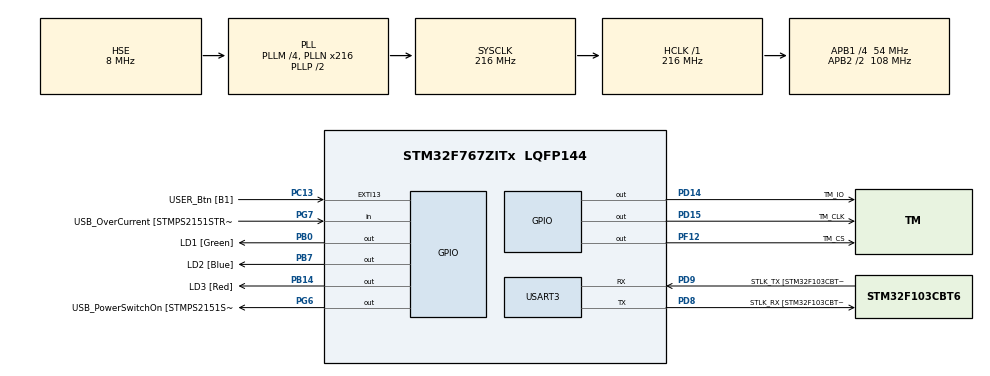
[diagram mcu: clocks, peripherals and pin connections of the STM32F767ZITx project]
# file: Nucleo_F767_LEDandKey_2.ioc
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Mcu.Family=STM32F7
Mcu.Name=STM32F767ZITx
Mcu.Package=LQFP144
NVIC.PriorityGroup=NVIC_PRIORITYGROUP_4
PA13.GPIO_Label=TMS
PA13.Mode=Serial_Wire
PA13.Signal=SYS_JTMS-SWDIO
PA14.GPIO_Label=TCK
PA14.Mode=Serial_Wire
PA14.Signal=SYS_JTCK-SWCLK
PB0.GPIO_Label=LD1 [Green]
PB0.Signal=GPIO_Output
PB14.GPIO_Label=LD3 [Red]
PB14.Signal=GPIO_Output
PB3.GPIO_Label=SWO
PB3.Signal=SYS_JTDO-SWO
PB7.GPIO_Label=LD2 [Blue]
PB7.Signal=GPIO_Output
PC13.GPIO_Label=USER_Btn [B1]
PC13.Signal=GPXTI13
PC14/OSC32_IN.Mode=LSE-External-Oscillator
PC14/OSC32_IN.Signal=RCC_OSC32_IN
PC15/OSC32_OUT.Mode=LSE-External-Oscillator
PC15/OSC32_OUT.Signal=RCC_OSC32_OUT
PD14.GPIO_Label=TM_IO
PD14.Signal=GPIO_Output
PD15.GPIO_Label=TM_CLK
PD15.Signal=GPIO_Output
PD8.GPIO_Label=STLK_RX [STM32F103CBT6_PA3]
PD8.Mode=Asynchronous
PD8.Signal=USART3_TX
PD9.GPIO_Label=STLK_TX [STM32F103CBT6_PA2]
PD9.Mode=Asynchronous
PD9.Signal=USART3_RX
PF12.GPIO_Label=TM_CS
PF12.Signal=GPIO_Output
PG6.GPIO_Label=USB_PowerSwitchOn [STMPS2151STR_EN]
PG6.Signal=GPIO_Output
PG7.GPIO_Label=USB_OverCurrent [STMPS2151STR_FAULT]
PG7.Signal=GPIO_Input
PH0/OSC_IN.GPIO_Label=MCO [STM32F103CBT6_PA8]
PH0/OSC_IN.Mode=HSE-External-Clock-Source
PH0/OSC_IN.Signal=RCC_OSC_IN
PH1/OSC_OUT.Mode=HSE-External-Clock-Source
PH1/OSC_OUT.Signal=RCC_OSC_OUT
ProjectManager.HeapSize=0x200
ProjectManager.StackSize=0x400
ProjectManager.TargetToolchain=STM32CubeIDE
RCC.48MHZClocksFreq_Value=24000000
RCC.AHBFreq_Value=216000000
RCC.APB1CLKDivider=RCC_HCLK_DIV4
RCC.APB1Freq_Value=54000000
RCC.APB1TimFreq_Value=108000000
RCC.APB2CLKDivider=RCC_HCLK_DIV2
RCC.APB2Freq_Value=108000000
RCC.APB2TimFreq_Value=216000000
RCC.CortexFreq_Value=216000000
RCC.HCLKFreq_Value=216000000
RCC.HSE_VALUE=8000000
RCC.HSI_VALUE=16000000
RCC.PLLM=4
RCC.PLLMUL=RCC_PLL_MUL9
RCC.PLLN=216
RCC.PLLQ=4
RCC.PLLSourceVirtual=RCC_PLLSOURCE_HSE
RCC.PRESCALERUSB=RCC_USBCLKSOURCE_PLL_DIV1_5
RCC.SYSCLKFreq_VALUE=216000000
RCC.SYSCLKSource=RCC_SYSCLKSOURCE_PLLCLK
RCC.SYSCLKSourceVirtual=RCC_SYSCLKSOURCE_PLLCLK
RCC.USBFreq_Value=108000000
RCC.VCOOutputFreq_Value=432000000
USART3.VirtualMode-Asynchronous=VM_ASYNC
board=NUCLEO-F767ZI

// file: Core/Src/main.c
/* USER CODE BEGIN Header */
/**
  ******************************************************************************
  * @file           : main.c
  * @brief          : Main program body
  ******************************************************************************
  * @attention
  *
  * <h2><center>&copy; Copyright (c) 2020 STMicroelectronics.
  * All rights reserved.</center></h2>
  *
  * This software component is licensed by ST under BSD 3-Clause license,
  * the "License"; You may not use this file except in compliance with the
  * License. You may obtain a copy of the License at:
  *                        opensource.org/licenses/BSD-3-Clause
  *
  ******************************************************************************
  */
/* USER CODE END Header */
#include "main.h"

/* USER CODE BEGIN Includes */
#include <tm1638.h>
/* USER CODE END Includes */

UART_HandleTypeDef huart3;

void SystemClock_Config(void);
static void MX_GPIO_Init(void);
static void MX_USART3_UART_Init(void);

int main(void)
{

  /* MCU Configuration--------------------------------------------------------*/

  /* Reset of all peripherals, Initializes the Flash interface and the Systick. */
  HAL_Init();

  /* Configure the system clock */
  SystemClock_Config();

  /* Initialize all configured peripherals */
  MX_GPIO_Init();
  MX_USART3_UART_Init();
  /* USER CODE BEGIN 2 */

  TM_CS_DESELECT;

  tm_send_command(TM_ACTIVATE);

  tm_reset();

  /* USER CODE END 2 */

  /* Infinite loop */
  /* USER CODE BEGIN WHILE */
  while (1)
    {
      HAL_Delay(500);
      tm_reset();

      for(uint8_t i=0; i<8; i++)
        {
          if(i % 2)
            {
              tm_displayASCII(i, (int)('A') + i);
            }
          else
            {
              tm_displayASCIIwDot(i, (int)('A') + i);
            }
        }

      HAL_Delay(500);
      tm_reset();

      for(int i=0; i<8; i++)
        {
          tm_displayASCII(i, (int)('1') + i);
        }

      HAL_Delay(500);
      tm_reset();

      tm_displayText("stuphi0.1");

      HAL_Delay(500);
      tm_reset();

      for(uint16_t i = 0; i<=255; i++)
        {
          tm_setLEDs(i);
          HAL_Delay(5);
        }

      HAL_Delay(500);
      tm_reset();

      tm_setLEDs(85);
      HAL_Delay(100);
      tm_setLEDs(170);
      HAL_Delay(100);
      tm_setLEDs(85);
      HAL_Delay(100);
      tm_setLEDs(170);
      HAL_Delay(100);

      HAL_Delay(500);
      tm_reset();

      uint8_t buttons = 0;
      for(uint8_t i = 0; i < 100; i++)
        {
          buttons = tm_readButtons();
          tm_setLEDs(buttons);
          HAL_Delay(100);
        }

      /* USER CODE END WHILE */

    }
}

void SystemClock_Config(void)
{
  RCC_OscInitTypeDef RCC_OscInitStruct = {0};
  RCC_ClkInitTypeDef RCC_ClkInitStruct = {0};
  RCC_PeriphCLKInitTypeDef PeriphClkInitStruct = {0};

  /** Configure LSE Drive Capability
  */
  HAL_PWR_EnableBkUpAccess();
  /** Configure the main internal regulator output voltage
  */
  __HAL_RCC_PWR_CLK_ENABLE();
  __HAL_PWR_VOLTAGESCALING_CONFIG(PWR_REGULATOR_VOLTAGE_SCALE1);
  /** Initializes the RCC Oscillators according to the specified parameters
  * in the RCC_OscInitTypeDef structure.
  */
  RCC_OscInitStruct.OscillatorType = RCC_OSCILLATORTYPE_HSE;
  RCC_OscInitStruct.HSEState = RCC_HSE_BYPASS;
  RCC_OscInitStruct.PLL.PLLState = RCC_PLL_ON;
  RCC_OscInitStruct.PLL.PLLSource = RCC_PLLSOURCE_HSE;
  RCC_OscInitStruct.PLL.PLLM = 4;
  RCC_OscInitStruct.PLL.PLLN = 216;
  RCC_OscInitStruct.PLL.PLLP = RCC_PLLP_DIV2;
  RCC_OscInitStruct.PLL.PLLQ = 4;
  if (HAL_RCC_OscConfig(&RCC_OscInitStruct) != HAL_OK)
  {
    Error_Handler();
  }
  /** Activate the Over-Drive mode
  */
  if (HAL_PWREx_EnableOverDrive() != HAL_OK)
  {
    Error_Handler();
  }
  /** Initializes the CPU, AHB and APB buses clocks
  */
  RCC_ClkInitStruct.ClockType = RCC_CLOCKTYPE_HCLK|RCC_CLOCKTYPE_SYSCLK
                              |RCC_CLOCKTYPE_PCLK1|RCC_CLOCKTYPE_PCLK2;
  RCC_ClkInitStruct.SYSCLKSource = RCC_SYSCLKSOURCE_PLLCLK;
  RCC_ClkInitStruct.AHBCLKDivider = RCC_SYSCLK_DIV1;
  RCC_ClkInitStruct.APB1CLKDivider = RCC_HCLK_DIV4;
  RCC_ClkInitStruct.APB2CLKDivider = RCC_HCLK_DIV2;

  if (HAL_RCC_ClockConfig(&RCC_ClkInitStruct, FLASH_LATENCY_7) != HAL_OK)
  {
    Error_Handler();
  }
  PeriphClkInitStruct.PeriphClockSelection = RCC_PERIPHCLK_USART3;
  PeriphClkInitStruct.Usart3ClockSelection = RCC_USART3CLKSOURCE_PCLK1;
  if (HAL_RCCEx_PeriphCLKConfig(&PeriphClkInitStruct) != HAL_OK)
  {
    Error_Handler();
  }
}

static void MX_USART3_UART_Init(void)
{

  huart3.Instance = USART3;
  huart3.Init.BaudRate = 115200;
  huart3.Init.WordLength = UART_WORDLENGTH_8B;
  huart3.Init.StopBits = UART_STOPBITS_1;
  huart3.Init.Parity = UART_PARITY_NONE;
  huart3.Init.Mode = UART_MODE_TX_RX;
  huart3.Init.HwFlowCtl = UART_HWCONTROL_NONE;
  huart3.Init.OverSampling = UART_OVERSAMPLING_16;
  huart3.Init.OneBitSampling = UART_ONE_BIT_SAMPLE_DISABLE;
  huart3.AdvancedInit.AdvFeatureInit = UART_ADVFEATURE_NO_INIT;
  if (HAL_UART_Init(&huart3) != HAL_OK)
  {
    Error_Handler();
  }

}

static void MX_GPIO_Init(void)
{
  GPIO_InitTypeDef GPIO_InitStruct = {0};

  /* GPIO Ports Clock Enable */
  __HAL_RCC_GPIOC_CLK_ENABLE();
  __HAL_RCC_GPIOH_CLK_ENABLE();
  __HAL_RCC_GPIOB_CLK_ENABLE();
  __HAL_RCC_GPIOF_CLK_ENABLE();
  __HAL_RCC_GPIOD_CLK_ENABLE();
  __HAL_RCC_GPIOG_CLK_ENABLE();
  __HAL_RCC_GPIOA_CLK_ENABLE();

  /*Configure GPIO pin Output Level */
  HAL_GPIO_WritePin(GPIOB, LD1_Pin|LD3_Pin|LD2_Pin, GPIO_PIN_RESET);

  /*Configure GPIO pin Output Level */
  HAL_GPIO_WritePin(TM_CS_GPIO_Port, TM_CS_Pin, GPIO_PIN_RESET);

  /*Configure GPIO pin Output Level */
  HAL_GPIO_WritePin(GPIOD, TM_IO_Pin|TM_CLK_Pin, GPIO_PIN_RESET);

  /*Configure GPIO pin Output Level */
  HAL_GPIO_WritePin(USB_PowerSwitchOn_GPIO_Port, USB_PowerSwitchOn_Pin, GPIO_PIN_RESET);

  /*Configure GPIO pin : USER_Btn_Pin */
  GPIO_InitStruct.Pin = USER_Btn_Pin;
  GPIO_InitStruct.Mode = GPIO_MODE_IT_RISING;
  GPIO_InitStruct.Pull = GPIO_NOPULL;
  HAL_GPIO_Init(USER_Btn_GPIO_Port, &GPIO_InitStruct);

  /*Configure GPIO pins : LD1_Pin LD3_Pin LD2_Pin */
  GPIO_InitStruct.Pin = LD1_Pin|LD3_Pin|LD2_Pin;
  GPIO_InitStruct.Mode = GPIO_MODE_OUTPUT_PP;
  GPIO_InitStruct.Pull = GPIO_NOPULL;
  GPIO_InitStruct.Speed = GPIO_SPEED_FREQ_LOW;
  HAL_GPIO_Init(GPIOB, &GPIO_InitStruct);

  /*Configure GPIO pin : TM_CS_Pin */
  GPIO_InitStruct.Pin = TM_CS_Pin;
  GPIO_InitStruct.Mode = GPIO_MODE_OUTPUT_PP;
  GPIO_InitStruct.Pull = GPIO_NOPULL;
  GPIO_InitStruct.Speed = GPIO_SPEED_FREQ_LOW;
  HAL_GPIO_Init(TM_CS_GPIO_Port, &GPIO_InitStruct);

  /*Configure GPIO pins : TM_IO_Pin TM_CLK_Pin */
  GPIO_InitStruct.Pin = TM_IO_Pin|TM_CLK_Pin;
  GPIO_InitStruct.Mode = GPIO_MODE_OUTPUT_PP;
  GPIO_InitStruct.Pull = GPIO_NOPULL;
  GPIO_InitStruct.Speed = GPIO_SPEED_FREQ_LOW;
  HAL_GPIO_Init(GPIOD, &GPIO_InitStruct);

  /*Configure GPIO pin : USB_PowerSwitchOn_Pin */
  GPIO_InitStruct.Pin = USB_PowerSwitchOn_Pin;
  GPIO_InitStruct.Mode = GPIO_MODE_OUTPUT_PP;
  GPIO_InitStruct.Pull = GPIO_NOPULL;
  GPIO_InitStruct.Speed = GPIO_SPEED_FREQ_LOW;
  HAL_GPIO_Init(USB_PowerSwitchOn_GPIO_Port, &GPIO_InitStruct);

  /*Configure GPIO pin : USB_OverCurrent_Pin */
  GPIO_InitStruct.Pin = USB_OverCurrent_Pin;
  GPIO_InitStruct.Mode = GPIO_MODE_INPUT;
  GPIO_InitStruct.Pull = GPIO_NOPULL;
  HAL_GPIO_Init(USB_OverCurrent_GPIO_Port, &GPIO_InitStruct);

}

void Error_Handler(void)
{
}

/************************ (C) COPYRIGHT STMicroelectronics *****END OF FILE****/
